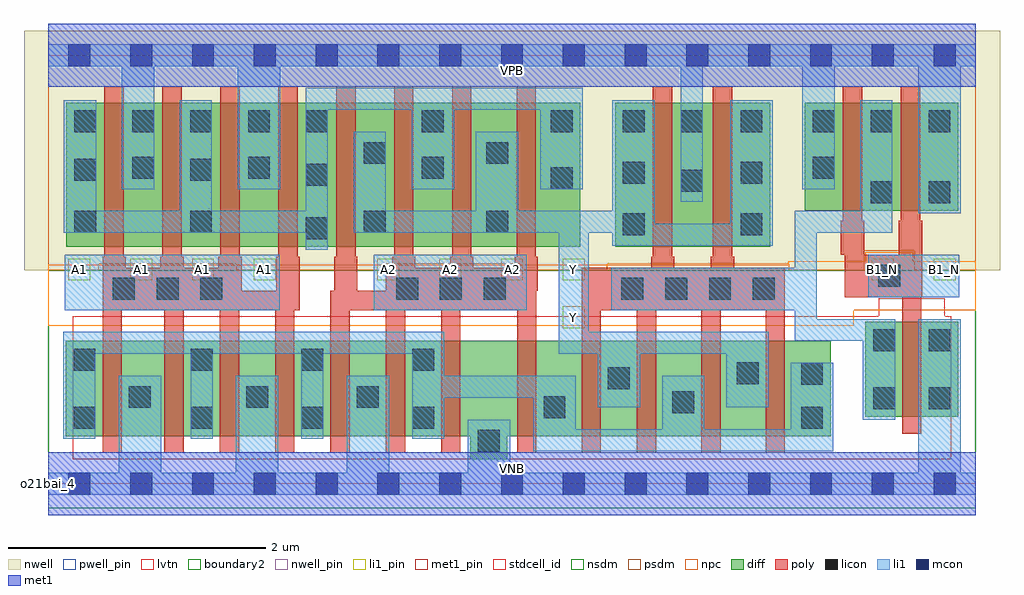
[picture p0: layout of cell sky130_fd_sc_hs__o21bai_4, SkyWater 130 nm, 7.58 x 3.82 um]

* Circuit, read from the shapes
.subckt sky130_fd_sc_hs__o21bai_4 A1 A2 B1_N VGND VNB VPB VPWR Y
XM1 VGND A1 n1 VNB sky130_fd_pr__nfet_01v8_lvt w=0.74 l=0.15 m=4
XM2 VGND A2 n1 VNB sky130_fd_pr__nfet_01v8_lvt w=0.74 l=0.15 m=4
XM3 Y n2 n1 VNB sky130_fd_pr__nfet_01v8_lvt w=0.74 l=0.15 m=4
XM4 VGND B1_N n2 VNB sky130_fd_pr__nfet_01v8_lvt w=0.74 l=0.15
XM5 VPWR A1 n3 VPB sky130_fd_pr__pfet_01v8 w=1.12 l=0.15 m=4
XM6 Y A2 n3 VPB sky130_fd_pr__pfet_01v8 w=1.12 l=0.15 m=4
XM7 VPWR n2 Y VPB sky130_fd_pr__pfet_01v8 w=1.12 l=0.15 m=2
XM8 n2 B1_N VPWR VPB sky130_fd_pr__pfet_01v8 w=0.84 l=0.15 m=2
.ends

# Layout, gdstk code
import gdstk
lib = gdstk.Library(unit=1e-6, precision=1e-09)
def R(c, l, rs):  # rectangles x0, y0, x1, y1
    for r in rs: c.add(gdstk.rectangle(r[:2], r[2:], *l))
def A(c, l, x, y, w, h, nx, ny, dx, dy):  # array of equal rectangles
    R(c, l, [(x+i*dx, y+j*dy, x+i*dx+w, y+j*dy+h) for i in range(nx) for j in range(ny)])
def P(c, l, *ps):  # polygons
    for p in ps: c.add(gdstk.Polygon(p, *l))
nwell_pin = (64, 16)
nwell = (64, 20)
diff = (65, 20)
poly = (66, 20)
licon = (66, 44)
li1_pin = (67, 16)
li1 = (67, 20)
mcon = (67, 44)
met1_pin = (68, 16)
met1 = (68, 20)
stdcell_id = (81, 4)
nsdm = (93, 44)
psdm = (94, 20)
npc = (95, 20)
pwell_pin = (122, 16)
lvtn = (125, 44)
boundary2 = (236, 0)

sky130_fd_sc_hs__o21bai_ = lib.new_cell('sky130_fd_sc_hs__o21bai_4')
R(sky130_fd_sc_hs__o21bai_, nwell_pin, [(0,3.085,7.2,3.33)])
R(sky130_fd_sc_hs__o21bai_, nwell, [(-0.19,1.66,7.39,3.52)])
R(sky130_fd_sc_hs__o21bai_, diff, [(6.345,0.52,7.065,1.26), (0.14,1.84,4.13,2.96), (4.4,1.84,5.605,2.96), (5.875,2.12,7.065,2.96)])
P(sky130_fd_sc_hs__o21bai_, diff, [(6.075,1.11),(0.135,1.11),(0.135,0.37),(3.275,0.37),(3.275,0.19),(3.565,0.19),(3.565,0.37),(6.075,0.37)])
P(sky130_fd_sc_hs__o21bai_, poly, [(1.95,1.765),(1.935,1.765),(1.935,3.09),(1.785,3.09),(1.785,1.765),(1.77,1.765),(1.77,1.5),(1.5,1.5),(1.5,1.765),(1.485,1.765),(1.485,3.09),(1.335,3.09),(1.335,1.765),(1.32,1.765),(1.32,1.68),(1.05,1.68),(1.05,1.765),(1.035,1.765),(1.035,3.09),(0.885,3.09),(0.885,1.765),(0.87,1.765),(0.87,1.68),(0.6,1.68),(0.6,1.765),(0.585,1.765),(0.585,3.09),(0.435,3.09),(0.435,1.765),(0.42,1.765),(0.42,0.24),(0.57,0.24),(0.57,1.35),(0.9,1.35),(0.9,0.24),(1.05,0.24),(1.05,1.35),(1.33,1.35),(1.33,0.24),(1.48,0.24),(1.48,1.35),(1.76,1.35),(1.76,0.24),(1.91,0.24),(1.91,1.35),(1.95,1.35)],
  [(3.8,1.765),(3.785,1.765),(3.785,3.09),(3.635,3.09),(3.635,1.765),(3.62,1.765),(3.62,1.68),(3.3,1.68),(3.3,1.765),(3.285,1.765),(3.285,3.09),(3.135,3.09),(3.135,1.765),(3.12,1.765),(3.12,1.68),(2.85,1.68),(2.85,1.765),(2.835,1.765),(2.835,3.09),(2.685,3.09),(2.685,1.765),(2.67,1.765),(2.67,1.68),(2.62,1.68),(2.62,1.5),(2.4,1.5),(2.4,1.765),(2.385,1.765),(2.385,3.09),(2.235,3.09),(2.235,1.765),(2.22,1.765),(2.22,1.5),(2.19,1.5),(2.19,0.24),(2.34,0.24),(2.34,1.35),(2.62,1.35),(2.62,0.24),(2.77,0.24),(2.77,1.35),(3.05,1.35),(3.05,0.24),(3.2,0.24),(3.2,1.35),(3.64,1.35),(3.64,0.24),(3.79,0.24),(3.79,1.5),(3.8,1.5)],
  [(5.72,1.68),(5.325,1.68),(5.325,1.765),(5.31,1.765),(5.31,3.09),(5.16,3.09),(5.16,1.765),(5.145,1.765),(5.145,1.68),(4.86,1.68),(4.86,1.765),(4.845,1.765),(4.845,3.09),(4.695,3.09),(4.695,1.765),(4.68,1.765),(4.68,1.68),(4.14,1.68),(4.14,0.24),(4.29,0.24),(4.29,1.35),(4.57,1.35),(4.57,0.24),(4.72,0.24),(4.72,1.35),(5.07,1.35),(5.07,0.24),(5.22,0.24),(5.22,1.35),(5.57,1.35),(5.57,0.24),(5.72,0.24)],
  [(6.785,2.045),(6.77,2.045),(6.77,3.09),(6.62,3.09),(6.62,2.045),(6.605,2.045),(6.605,1.78),(6.335,1.78),(6.335,2.045),(6.32,2.045),(6.32,3.09),(6.17,3.09),(6.17,2.045),(6.155,2.045),(6.155,1.78),(6.185,1.78),(6.185,1.45),(6.63,1.45),(6.63,0.39),(6.78,0.39),(6.78,1.45),(6.785,1.45)])
A(sky130_fd_sc_hs__o21bai_, licon, 1.105, 0.43, 0.17, 0.17, 3, 2, 0.86, 0.45)
A(sky130_fd_sc_hs__o21bai_, licon, 0.5, 1.43, 0.17, 0.17, 3, 1, 0.34, 0)
A(sky130_fd_sc_hs__o21bai_, licon, 2.7, 1.43, 0.17, 0.17, 3, 1, 0.34, 0)
A(sky130_fd_sc_hs__o21bai_, licon, 4.45, 1.43, 0.17, 0.17, 4, 1, 0.34, 0)
A(sky130_fd_sc_hs__o21bai_, licon, 4.46, 1.93, 0.17, 0.17, 1, 3, 0, 0.4)
A(sky130_fd_sc_hs__o21bai_, licon, 5.375, 1.93, 0.17, 0.17, 1, 3, 0, 0.4)
A(sky130_fd_sc_hs__o21bai_, licon, 0.2, 2.73, 0.17, 0.17, 5, 1, 0.45, 0)
A(sky130_fd_sc_hs__o21bai_, licon, 5.935, 2.73, 0.17, 0.17, 3, 1, 0.45, 0)
R(sky130_fd_sc_hs__o21bai_, licon, [(3.335,0.25,3.505,0.42), (0.195,0.43,0.365,0.6), (5.845,0.43,6.015,0.6), (3.845,0.51,4.015,0.68), (4.845,0.55,5.015,0.72), (6.405,0.58,6.575,0.75), (6.835,0.58,7.005,0.75), (0.625,0.59,0.795,0.76), (1.535,0.59,1.705,0.76), (2.395,0.59,2.565,0.76), (4.345,0.735,4.515,0.905), (5.845,0.77,6.015,0.94), (5.345,0.775,5.515,0.945), (0.195,0.88,0.365,1.05), (6.405,1.03,6.575,1.2), (6.835,1.03,7.005,1.2), (6.445,1.53,6.615,1.7), (2,1.9,2.17,2.07), (0.2,1.95,0.37,2.12), (1.1,1.95,1.27,2.12), (2.45,1.95,2.62,2.12), (3.4,1.95,3.57,2.12), (6.385,2.18,6.555,2.35), (6.835,2.18,7.005,2.35), (4.91,2.27,5.08,2.44), (3.9,2.29,4.07,2.46), (2,2.315,2.17,2.485), (0.2,2.355,0.37,2.525), (1.1,2.355,1.27,2.525), (0.65,2.37,0.82,2.54), (1.55,2.37,1.72,2.54), (2.9,2.37,3.07,2.54), (5.935,2.37,6.105,2.54), (2.45,2.485,2.62,2.655), (3.4,2.485,3.57,2.655), (2.9,2.73,3.07,2.9), (3.9,2.73,4.07,2.9), (4.91,2.73,5.08,2.9)])
A(sky130_fd_sc_hs__o21bai_, li1_pin, 0.155, 1.58, 0.17, 0.17, 4, 1, 0.48, 0)
A(sky130_fd_sc_hs__o21bai_, li1_pin, 2.555, 1.58, 0.17, 0.17, 4, 1, 0.48, 0)
R(sky130_fd_sc_hs__o21bai_, li1_pin, [(3.995,1.21,4.165,1.38), (6.395,1.58,6.565,1.75), (6.875,1.58,7.045,1.75)])
R(sky130_fd_sc_hs__o21bai_, li1, [(0.125,1.35,1.795,1.78), (2.525,1.35,3.715,1.78), (6.365,1.45,7.075,1.78)])
P(sky130_fd_sc_hs__o21bai_, li1, [(0,-0.085),(0,0.085),(0.545,0.085),(0.545,0.84),(0.875,0.84),(0.875,0.085),(1.455,0.085),(1.455,0.84),(1.785,0.84),(1.785,0.085),(2.315,0.085),(2.315,0.84),(2.645,0.84),(2.645,0.085),(3.255,0.085),(3.255,0.5),(3.585,0.5),(3.585,0.085),(6.755,0.085),(6.755,1.28),(7.085,1.28),(7.085,0.085),(7.2,0.085),(7.2,-0.085)],
  [(0,3.245),(0,3.415),(7.2,3.415),(7.2,3.245),(7.085,3.245),(7.085,2.1),(6.755,2.1),(6.755,3.245),(6.105,3.245),(6.105,2.29),(5.855,2.29),(5.855,3.245),(5.08,3.245),(5.08,2.19),(4.91,2.19),(4.91,3.245),(1.8,3.245),(1.8,2.29),(1.47,2.29),(1.47,3.245),(0.82,3.245),(0.82,2.29),(0.57,2.29),(0.57,3.245)],
  [(3.965,1.95),(2.37,1.95),(2.37,2.735),(2.62,2.735),(2.62,2.12),(3.32,2.12),(3.32,2.735),(3.65,2.735),(3.65,2.12),(4.38,2.12),(4.38,2.98),(4.71,2.98),(4.71,2.02),(5.295,2.02),(5.295,2.98),(5.625,2.98),(5.625,1.85),(4.38,1.85),(4.38,1.95),(4.195,1.95),(4.195,1.18),(5.595,1.18),(5.595,0.595),(5.265,0.595),(5.265,1.01),(4.595,1.01),(4.595,0.595),(4.265,0.595),(4.265,1.01),(3.965,1.01)],
  [(3.82,2.905),(3.15,2.905),(3.15,2.29),(2.82,2.29),(2.82,2.905),(2.17,2.905),(2.17,1.82),(2,1.82),(2,1.95),(0.12,1.95),(0.12,2.98),(0.37,2.98),(0.37,2.12),(1.02,2.12),(1.02,2.98),(1.27,2.98),(1.27,2.12),(2,2.12),(2,3.075),(4.15,3.075),(4.15,2.29),(3.82,2.29)],
  [(5.795,1.11),(5.795,1.35),(4.37,1.35),(4.37,1.68),(5.795,1.68),(5.795,2.12),(6.305,2.12),(6.305,2.98),(6.555,2.98),(6.555,1.95),(5.965,1.95),(5.965,1.28),(6.575,1.28),(6.575,0.5),(6.325,0.5),(6.325,1.11)],
  [(5.095,0.425),(5.765,0.425),(5.765,0.94),(6.095,0.94),(6.095,0.255),(3.765,0.255),(3.765,0.67),(3.075,0.67),(3.075,0.35),(2.825,0.35),(2.825,1.01),(2.135,1.01),(2.135,0.35),(1.965,0.35),(1.965,1.01),(1.275,1.01),(1.275,0.35),(1.105,0.35),(1.105,1.01),(0.365,1.01),(0.365,0.35),(0.115,0.35),(0.115,1.18),(3.075,1.18),(3.075,0.84),(4.095,0.84),(4.095,0.425),(4.765,0.425),(4.765,0.84),(5.095,0.84)])
A(sky130_fd_sc_hs__o21bai_, mcon, 0.155, -0.085, 0.17, 0.17, 15, 2, 0.48, 3.33)
R(sky130_fd_sc_hs__o21bai_, met1_pin, [(0,0,7.2,0.245), (0,3.085,7.2,3.33)])
R(sky130_fd_sc_hs__o21bai_, met1, [(0,-0.245,7.2,0.245), (0,3.085,7.2,3.575)])
R(sky130_fd_sc_hs__o21bai_, stdcell_id, [(0,0,7.2,3.33)])
R(sky130_fd_sc_hs__o21bai_, nsdm, [(0,-0.19,7.2,1.66)])
P(sky130_fd_sc_hs__o21bai_, psdm, [(7.2,3.52),(0,3.52),(0,1.66),(0.39,1.66),(0.39,1.71),(1.46,1.71),(1.46,1.66),(2.59,1.66),(2.59,1.71),(3.66,1.71),(3.66,1.66),(4.34,1.66),(4.34,1.71),(5.75,1.71),(5.75,1.66),(6.335,1.66),(6.335,1.81),(6.725,1.81),(6.725,1.66),(7.2,1.66)])
P(sky130_fd_sc_hs__o21bai_, npc, [(7.2,1.73),(6.715,1.73),(6.715,1.8),(6.345,1.8),(6.345,1.73),(5.745,1.73),(5.745,1.7),(0,1.7),(0,1.23),(6.255,1.23),(6.255,1.35),(7.2,1.35)])
R(sky130_fd_sc_hs__o21bai_, pwell_pin, [(0,0,7.2,0.245)])
P(sky130_fd_sc_hs__o21bai_, lvtn, [(7.01,1.3),(6.96,1.3),(6.96,1.44),(6.45,1.44),(6.45,1.3),(0.19,1.3),(0.19,0.19),(7.01,0.19)])
R(sky130_fd_sc_hs__o21bai_, boundary2, [(0,0,7.2,3.33)])
sky130_fd_sc_hs__o21bai_.add(gdstk.Label('o21bai_4', (0,0), layer=83, texttype=44))
sky130_fd_sc_hs__o21bai_.add(gdstk.Label('VNB', (3.6,0.123), layer=64, texttype=59))
sky130_fd_sc_hs__o21bai_.add(gdstk.Label('VPB', (3.6,3.208), layer=64, texttype=5))
sky130_fd_sc_hs__o21bai_.add(gdstk.Label('VPWR', (3.6,3.208), layer=68, texttype=5))
sky130_fd_sc_hs__o21bai_.add(gdstk.Label('VGND', (3.6,0.123), layer=68, texttype=5))
sky130_fd_sc_hs__o21bai_.add(gdstk.Label('Y', (4.08,1.295), layer=67, texttype=5))
sky130_fd_sc_hs__o21bai_.add(gdstk.Label('Y', (4.08,1.665), layer=67, texttype=5))
sky130_fd_sc_hs__o21bai_.add(gdstk.Label('A1', (0.24,1.665), layer=67, texttype=5))
sky130_fd_sc_hs__o21bai_.add(gdstk.Label('A1', (0.72,1.665), layer=67, texttype=5))
sky130_fd_sc_hs__o21bai_.add(gdstk.Label('A1', (1.2,1.665), layer=67, texttype=5))
sky130_fd_sc_hs__o21bai_.add(gdstk.Label('A1', (1.68,1.665), layer=67, texttype=5))
sky130_fd_sc_hs__o21bai_.add(gdstk.Label('A2', (2.64,1.665), layer=67, texttype=5))
sky130_fd_sc_hs__o21bai_.add(gdstk.Label('A2', (3.12,1.665), layer=67, texttype=5))
sky130_fd_sc_hs__o21bai_.add(gdstk.Label('A2', (3.6,1.665), layer=67, texttype=5))
sky130_fd_sc_hs__o21bai_.add(gdstk.Label('B1_N', (6.48,1.665), layer=67, texttype=5))
sky130_fd_sc_hs__o21bai_.add(gdstk.Label('B1_N', (6.96,1.665), layer=67, texttype=5))

lib.write_gds('sky130_fd_sc_hs__o21bai_4.gds')
